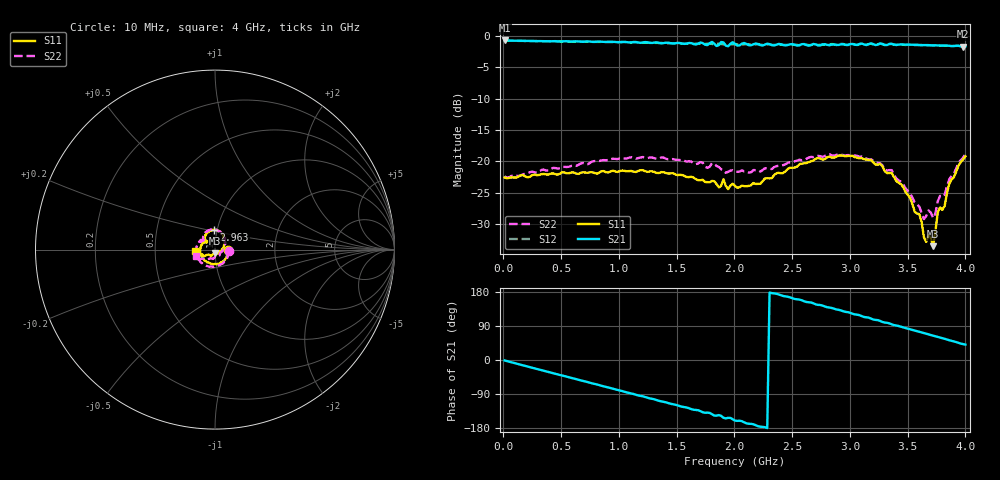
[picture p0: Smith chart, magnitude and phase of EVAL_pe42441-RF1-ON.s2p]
! 9/28/2016 2:31:38 PM
! C:\USERS\ANRITSUUSER\DESKTOP\SWITCHES\EVAL_PE42441-RF1-ON.S2P
! CHANNEL.1
! TR.MEASUREMENT
! CORRECTED.DATA
# GHZ S RI R 50.0
! FREQ.GHZ  S11RE  S11IM  S21RE  S21IM  S12RE  S12IM  S22RE  S22IM
!; PortSelection: Port_12
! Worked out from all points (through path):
!   201 points, 10 MHz to 4 GHz, reference 50 ohm
!   highest |S21| = -0.74 dB at 10 MHz (marker M1); lowest = -1.8 dB at 3.98 GHz (marker M2)
!   group delay of S21, straight-line fit = 219 ps
!   lowest |S11| = -33.5 dB at 3.721 GHz (marker M3), VSWR 1.04, Z = 50 - j2.12 ohm
!   |S11| at or under -10 dB: start of sweep to end of sweep
!   |S22| runs from -29.2 to -18.8 dB; largest |S21 - S12| = 0.043
!   S11 on the Smith chart (normalised r, x): 10 MHz: 1.16, -0.01; 2.963 GHz: 0.97, +0.21; 4 GHz: 0.80, -0.02
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0.01  0.0744 -0.00349  0.9177 -0.0189  0.9159 -0.0289  0.0758 -0.00577
0.34915  0.0539 -0.0586  0.7984 -0.4312  0.7973 -0.4282  0.0575 -0.0642
0.6883  -0.00866 -0.0816  0.5122 -0.736  0.5134 -0.7334  -0.00772 -0.097
1.0474  -0.071 -0.0451  0.0969 -0.8893  0.1032 -0.8857  -0.0819 -0.0665
1.34665  -0.0804 0.00946  -0.2673 -0.8358  -0.2568 -0.8372  -0.105 -0.00915
1.78555  -0.0506 0.0457  -0.6641 -0.5662  -0.6736 -0.544  -0.0762 0.0493
1.9651  -0.0491 0.0414  -0.7686 -0.394  -0.7736 -0.366  -0.0683 0.0499
2.005  -0.0449 0.0454  -0.8117 -0.2964  -0.7915 -0.3237  -0.0655 0.0515
2.2843  -0.0542 0.0497  -0.8652 -0.0063  -0.8552 -0.00973  -0.0662 0.0577
2.6833  -0.0457 0.0909  -0.7422 0.4359  -0.7355 0.4263  -0.0554 0.0931
2.9626  -0.00563 0.1097  -0.5106 0.6771  -0.5092 0.6753  -0.0123 0.111
3.18205  0.033 0.0978  -0.2888 0.821  -0.2885 0.8147  0.0289 0.1002
3.34165  0.0524 0.0617  -0.0998 0.8537  -0.1024 0.8561  0.0556 0.0648
3.601  0.0376 -0.0063  0.2296 0.815  0.2207 0.8126  0.0431 -0.00753
3.6409  0.0231 -0.00939  0.2732 0.7969  0.2642 0.7974  0.0303 -0.0171
3.6808  0.014 -0.022  0.3219 0.7788  0.312 0.78  0.0251 -0.0321
3.7207  0.000559 -0.0212  0.364 0.7557  0.3565 0.7581  0.012 -0.0334
3.7606  -0.0192 -0.0342  0.4094 0.7314  0.4003 0.7338  -0.00562 -0.0479
3.82045  -0.0349 -0.0273  0.4684 0.6923  0.463 0.6949  -0.0256 -0.0481
3.86035  -0.0565 -0.0354  0.5107 0.6577  0.502 0.6627  -0.0453 -0.0563
3.98005  -0.1023 -0.0167  0.6069 0.5476  0.6046 0.5561  -0.098 -0.0433
4  -0.1096 -0.00989  0.6244 0.5377  0.6218 0.5421  -0.1081 -0.0372
